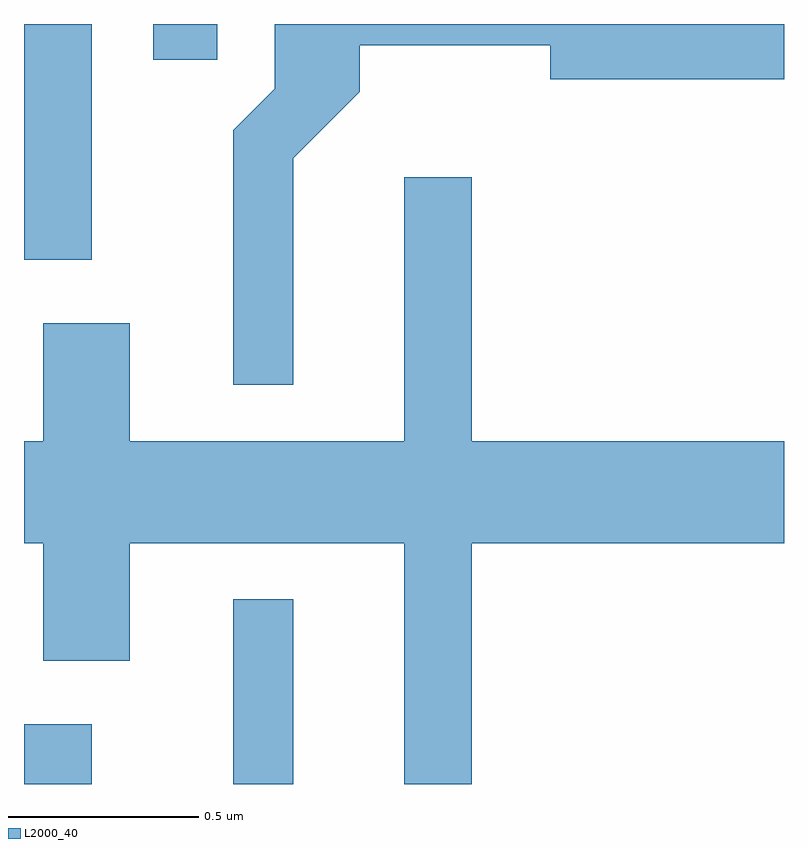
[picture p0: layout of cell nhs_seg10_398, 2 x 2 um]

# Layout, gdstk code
import gdstk
lib = gdstk.Library(unit=1e-6, precision=1e-09)
def R(c, l, rs):  # rectangles x0, y0, x1, y1
    for r in rs: c.add(gdstk.rectangle(r[:2], r[2:], *l))
def P(c, l, *ps):  # polygons
    for p in ps: c.add(gdstk.Polygon(p, *l))
L2000_40 = (2000, 40)

nhs_seg10_398 = lib.new_cell('nhs_seg10_398')
R(nhs_seg10_398, L2000_40, [(187.611,2206.522,187.789,2206.679), (188.161,2206.522,188.319,2207.008), (187.611,2207.901,187.789,2208.522), (187.951,2208.428,188.119,2208.522)])
P(nhs_seg10_398, L2000_40, [(188.319,2208.169),(188.494,2208.344),(188.494,2208.466),(188.996,2208.466),(188.996,2208.376),(189.611,2208.376),(189.611,2208.522),(188.271,2208.522),(188.271,2208.352),(188.161,2208.242),(188.161,2207.573),(188.319,2207.573)],
  [(188.789,2207.156),(189.611,2207.156),(189.611,2207.424),(188.789,2207.424),(188.789,2208.119),(188.611,2208.119),(188.611,2207.424),(187.889,2207.424),(187.889,2207.734),(187.661,2207.734),(187.661,2207.424),(187.611,2207.424),(187.611,2207.156),(187.661,2207.156),(187.661,2206.846),(187.889,2206.846),(187.889,2207.156),(188.611,2207.156),(188.611,2206.522),(188.789,2206.522)])

lib.write_gds('nhs_seg10_398.gds')
